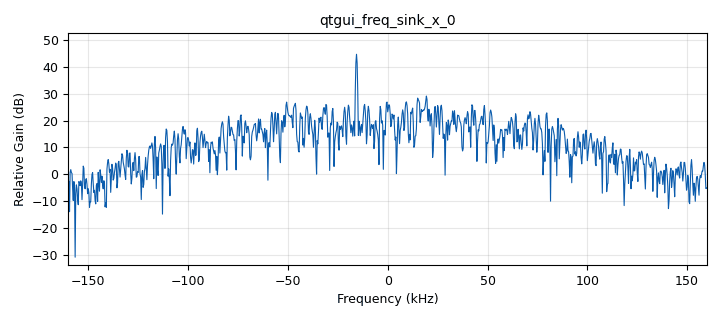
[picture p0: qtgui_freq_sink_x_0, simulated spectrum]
options:
  parameters:
    author: emmanuelkwakyenyantakyi
    generate_options: qt_gui
    id: detection_two_targets_cross_corr_4_2
    output_language: python
    title: Detection of two targets whose time-delayed copies are summed...
  states: {}

blocks:
- name: D
  id: variable_qtgui_range
  parameters:
    start: '0'
    step: '1'
    stop: '100'
    value: '50'
  states: {}
- name: D1
  id: variable_qtgui_range
  parameters:
    start: '0'
    step: '1'
    stop: '100'
    value: '50'
  states: {}
- name: N
  id: variable
  parameters:
    value: '1024'
  states: {}
- name: samp_rate
  id: variable
  parameters:
    value: '320000'
  states: {}
- name: analog_noise_source_x_0
  id: analog_noise_source_x
  parameters:
    amp: '1'
    comment: Broadband signal source
    noise_type: analog.GR_GAUSSIAN
    seed: '0'
    type: complex
  states: {}
- name: blocks_add_xx_0
  id: blocks_add_xx
  parameters:
    type: complex
  states: {}
- name: blocks_delay_0
  id: blocks_delay
  parameters:
    comment: Delay
    delay: D
    type: complex
  states: {}
- name: blocks_delay_1
  id: blocks_delay
  parameters:
    comment: Second delay
    delay: D1
    type: complex
  states: {}
- name: blocks_multiply_conjugate_cc_0
  id: blocks_multiply_conjugate_cc
  parameters:
    vlen: N
  states: {}
- name: blocks_stream_to_vector_0
  id: blocks_stream_to_vector
  parameters:
    num_items: N
    type: complex
  states: {}
- name: blocks_stream_to_vector_1
  id: blocks_stream_to_vector
  parameters:
    num_items: N
    type: complex
  states: {}
- name: blocks_throttle2_0
  id: blocks_throttle2
  parameters:
    samples_per_second: samp_rate
    type: complex
  states: {}
- name: blocks_vector_to_stream_0
  id: blocks_vector_to_stream
  parameters:
    num_items: N
    type: complex
  states: {}
- name: fft_vxx_0
  id: fft_vxx
  parameters:
    fft_size: '1024'
    forward: 'False'
    shift: 'True'
    type: complex
    window: window.blackmanharris(1024)
  states: {}
- name: fft_vxx_1
  id: fft_vxx
  parameters:
    fft_size: '1024'
    forward: 'False'
    shift: 'True'
    type: complex
    window: window.blackmanharris(1024)
  states: {}
- name: qtgui_freq_sink_x_0
  id: qtgui_freq_sink_x
  parameters:
    autoscale: 'True'
    bw: samp_rate
    fc: '0'
    fftsize: '1024'
    type: complex
  states: {}

connections:
- [analog_noise_source_x_0, '0', blocks_throttle2_0, '0']
- [blocks_add_xx_0, '0', blocks_stream_to_vector_1, '0']
- [blocks_delay_0, '0', blocks_add_xx_0, '0']
- [blocks_delay_1, '0', blocks_add_xx_0, '1']
- [blocks_multiply_conjugate_cc_0, '0', blocks_vector_to_stream_0, '0']
- [blocks_stream_to_vector_0, '0', fft_vxx_1, '0']
- [blocks_stream_to_vector_1, '0', fft_vxx_0, '0']
- [blocks_throttle2_0, '0', blocks_delay_0, '0']
- [blocks_throttle2_0, '0', blocks_delay_1, '0']
- [blocks_throttle2_0, '0', blocks_stream_to_vector_0, '0']
- [blocks_vector_to_stream_0, '0', qtgui_freq_sink_x_0, '0']
- [fft_vxx_0, '0', blocks_multiply_conjugate_cc_0, '1']
- [fft_vxx_1, '0', blocks_multiply_conjugate_cc_0, '0']

metadata:
  file_format: 1
  grc_version: 3.10.12.0
